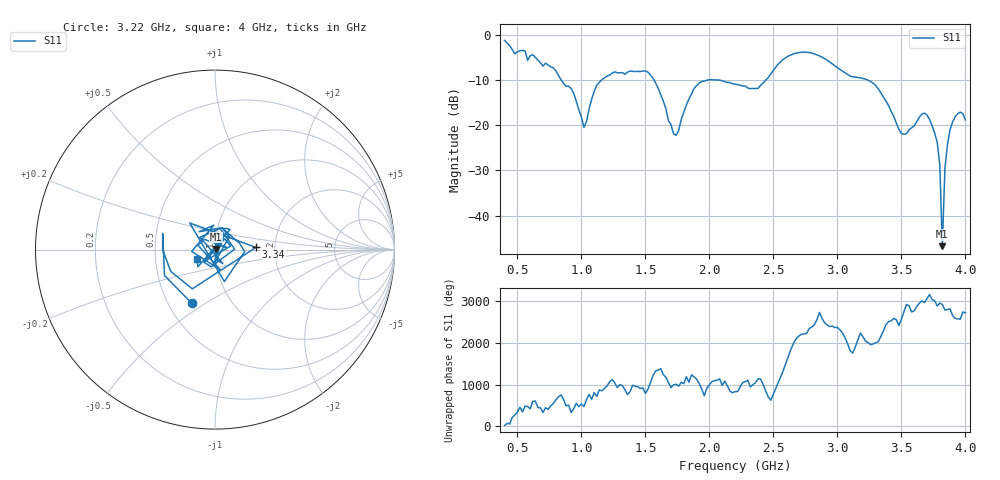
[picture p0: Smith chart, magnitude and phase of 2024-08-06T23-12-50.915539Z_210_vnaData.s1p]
!Created with skrf (http://scikit-rf.org).
# Hz S RI R 50.0
!freq ReS11 ImS11
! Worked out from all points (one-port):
!   181 points, 400 MHz to 4 GHz, reference 50 ohm
!   lowest |S11| = -46.8 dB at 3.82 GHz (marker M1), VSWR 1.01, Z = 50.3 + j0.331 ohm
!   |S11| at or under -10 dB: 1.568 GHz to 1.985 GHz (416.9 MHz wide, 23.5 % of centre); 2.082 GHz to 2.441 GHz (359.1 MHz wide, 15.9 % of centre); 3.24 GHz to end of sweep (the widest 3 of 4)
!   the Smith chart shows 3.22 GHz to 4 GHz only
!   S11 on the Smith chart (normalised r, x): 3.22 GHz: 0.65, -0.44; 3.34 GHz: 1.59, +0.04; 4 GHz: 0.81, -0.09
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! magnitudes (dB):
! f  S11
! 400 MHz  -1.2
! 860 MHz  -10.6
! 940 MHz  -12.9
! 1.02 GHz  -20.5
! 1.12 GHz  -11.1
! 1.3 GHz  -8.4
! 1.52 GHz  -8.2
! 1.6 GHz  -11.8
! 1.72 GHz  -21.9
! 1.76 GHz  -21.1
! 1.92 GHz  -10.6
! 2.2 GHz  -10.9
! 2.38 GHz  -11.8
! 2.66 GHz  -4.1
! 2.84 GHz  -4.4
! 3.1 GHz  -9.1
! 3.22 GHz  -9.8
! 3.34 GHz  -12.8
! 3.5 GHz  -21.8
! 3.56 GHz  -21.0
! 3.68 GHz  -17.3
! 3.76 GHz  -21.7
! 3.8 GHz  -28.8
! 3.82 GHz  -46.8
! 3.84 GHz  -29.6
! 3.88 GHz  -21.0
! 3.94 GHz  -17.4
! 4 GHz  -18.8
